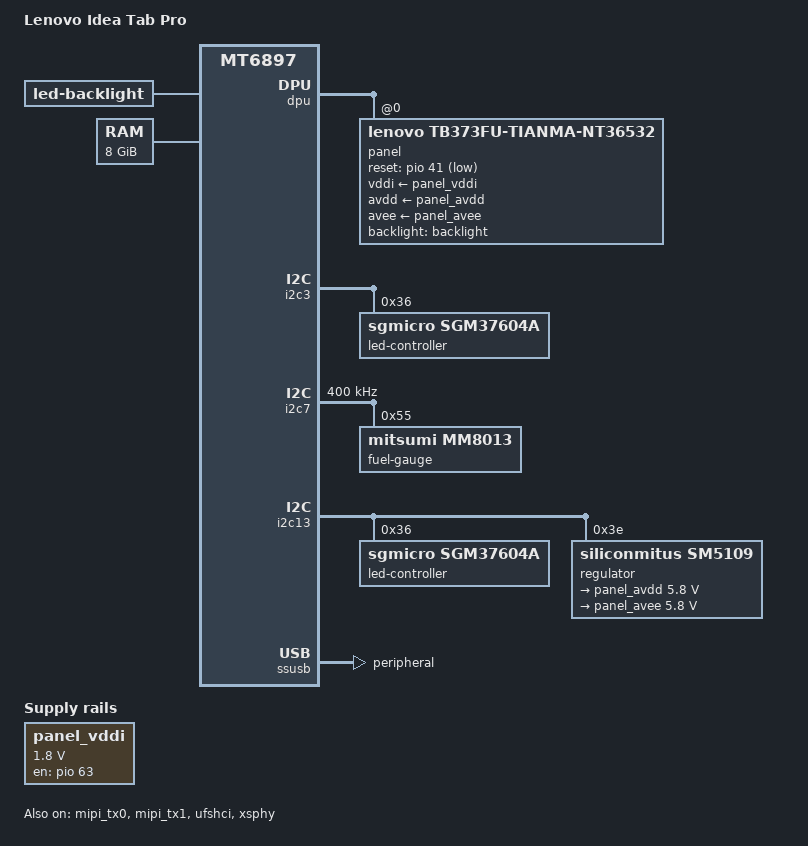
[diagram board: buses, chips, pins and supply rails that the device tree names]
// SPDX-License-Identifier: (GPL-2.0-only OR MIT)
/*
 * Lenovo Idea Tab Pro (TB373FU)
 */

/dts-v1/;

#include <dt-bindings/gpio/gpio.h>
#include <dt-bindings/leds/common.h>
#include "mt6897.dtsi"

/ {
	model = "Lenovo Idea Tab Pro";
	compatible = "lenovo,tb373fu", "mediatek,mt6897";
	chassis-type = "tablet";

	/* Two chips drive the panel's LED strings; one brightness for both. */
	backlight: backlight {
		compatible = "led-backlight";
		leds = <&backlight_led0>, <&backlight_led1>;
		default-brightness-level = <512>;
	};

	chosen {
		#address-cells = <2>;
		#size-cells = <2>;
		ranges;

		bootargs = "console=tty0 fbcon=font:TER16x32 root=PARTUUID=0000004f-39c2-4488-9bb0-00cb43c9ccd4 rootfstype=ext4 rootwait rw init=/usr/lib/systemd/systemd panic=10 arm64.nomte clk_ignore_unused pd_ignore_unused";

		fdt-handoff {
			stock-compatible = "mediatek,MT6897";
			stock-model = "MT8792";
			/* Lenovo's bootloader passes this word on every boot. */
			stock-bootargs = "lenovoraw_backup_size=0";
		};

		/* The bootloader's splash buffer; the panel runs in video mode. */
		framebuffer0: framebuffer@fc16f000 {
			compatible = "simple-framebuffer";
			reg = <0 0xfc16f000 0 (2944 * 1840 * 4)>;
			width = <2944>;
			height = <1840>;
			stride = <(2944 * 4)>;
			format = "a8r8g8b8";
		};
	};

	panel_vddi: regulator-panel-vddi {
		compatible = "regulator-fixed";
		regulator-name = "panel_vddi";
		regulator-min-microvolt = <1800000>;
		regulator-max-microvolt = <1800000>;
		gpio = <&pio 63 GPIO_ACTIVE_HIGH>;
		enable-active-high;
		regulator-boot-on;
	};

	/* 8 GiB; the bootloader passes what is usable. */
	memory@40000000 {
		device_type = "memory";
		reg = <0 0x40000000 0x2 0x00000000>;
	};

	reserved-memory {
		#address-cells = <2>;
		#size-cells = <2>;
		ranges;

		/*
		 * The bootloader allocates its MET buffer here on every boot and
		 * leaves it alone across a warm reset, unlike its own ramoops
		 * region, which it overwrites from expdb.
		 */
		ramoops@9f17f000 {
			compatible = "ramoops";
			reg = <0 0x9f17f000 0 0x100000>;
			no-map;
			record-size = <0x20000>;
			console-size = <0x80000>;
			pmsg-size = <0x40000>;
		};

		framebuffer@fc16f000 {
			reg = <0 0xfc16f000 0 0x3e90000>;
			no-map;
		};

		/* Scanout buffers: the display reads physical memory. */
		linux,cma {
			compatible = "shared-dma-pool";
			reusable;
			size = <0 0x10000000>;
			linux,cma-default;
		};
	};
};

&dpu {
	status = "okay";

	panel@0 {
		compatible = "lenovo,tb373fu-tianma-nt36532", "novatek,nt36532";
		reg = <0>;
		reset-gpios = <&pio 41 GPIO_ACTIVE_LOW>;
		vddi-supply = <&panel_vddi>;
		avdd-supply = <&panel_avdd>;
		avee-supply = <&panel_avee>;
		backlight = <&backlight>;
	};
};

&i2c3 {
	status = "okay";

	led-controller@36 {
		compatible = "sgmicro,sgm37604a";
		reg = <0x36>;

		backlight_led1: led {
			color = <LED_COLOR_ID_WHITE>;
			function = LED_FUNCTION_BACKLIGHT;
		};
	};
};

&i2c7 {
	clock-frequency = <400000>;
	status = "okay";

	fuel-gauge@55 {
		compatible = "mitsumi,mm8013";
		reg = <0x55>;
	};
};

&i2c13 {
	status = "okay";

	led-controller@36 {
		compatible = "sgmicro,sgm37604a";
		reg = <0x36>;

		backlight_led0: led {
			color = <LED_COLOR_ID_WHITE>;
			function = LED_FUNCTION_BACKLIGHT;
		};
	};

	/* The panel's bias supplies. */
	regulator@3e {
		compatible = "siliconmitus,sm5109", "ti,tps65132";
		reg = <0x3e>;

		panel_avdd: outp {
			regulator-name = "panel_avdd";
			regulator-min-microvolt = <5800000>;
			regulator-max-microvolt = <5800000>;
			enable-gpios = <&pio 187 GPIO_ACTIVE_HIGH>;
			regulator-boot-on;
		};

		panel_avee: outn {
			regulator-name = "panel_avee";
			regulator-min-microvolt = <5800000>;
			regulator-max-microvolt = <5800000>;
			enable-gpios = <&pio 186 GPIO_ACTIVE_HIGH>;
			regulator-boot-on;
		};
	};
};

/* The panel's lanes run with the drive and de-emphasis of the stock setup. */
&mipi_tx0 {
	drive-strength-microamp = <5200>;
	mediatek,de-emphasis;
	status = "okay";
};

&mipi_tx1 {
	drive-strength-microamp = <5200>;
	mediatek,de-emphasis;
	status = "okay";
};

&ssusb {
	dr_mode = "peripheral";
	maximum-speed = "high-speed";
	mediatek,force-vbus;
	status = "okay";
};

&ufshci {
	status = "okay";
};

&xsphy {
	status = "okay";
};
